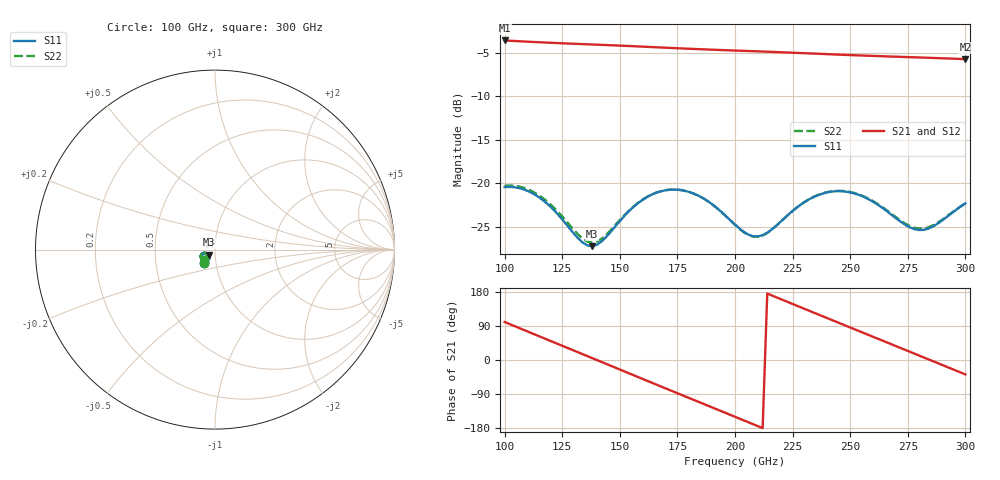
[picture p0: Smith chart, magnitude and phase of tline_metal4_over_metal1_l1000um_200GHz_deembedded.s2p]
! Created with skrf 2.2.0 (http://scikit-rf.org).
# GHz S DB R 50.0
! Port[1] = P1
! Port[2] = P2
!freq dBS11 angS11 dBS21 angS21 dBS12 angS12 dBS22 angS22
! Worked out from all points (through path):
!   101 points, 100 GHz to 300 GHz, reference 50 ohm
!   highest |S21| = -3.59 dB at 100 GHz (marker M1); lowest = -5.7 dB at 300 GHz (marker M2)
!   group delay of S21, straight-line fit = 6.92 ps
!   lowest |S11| = -27.2 dB at 138 GHz (marker M3), VSWR 1.09, Z = 46.7 - j2.6 ohm
!   |S11| at or under -10 dB: start of sweep to end of sweep
!   |S22| runs from -26.8 to -20.3 dB; largest |S21 - S12| = 6.8e-14
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100  -20.44 -130.1  -3.59 100.3  -3.59 100.3  -20.29 -128.9
108  -20.68 -143.3  -3.70 80.2  -3.70 80.2  -20.50 -142.1
116  -21.81 -154.5  -3.80 60.2  -3.80 60.2  -21.58 -153.2
126  -24.47 -160.5  -3.92 35.1  -3.92 35.1  -24.13 -159.4
134  -26.84 -150.8  -4.01 15.1  -4.01 15.1  -26.39 -150.8
138  -27.23 -140.3  -4.05 5.0  -4.05 5.0  -26.82 -141.3
152  -23.75 -121.8  -4.20 -30.1  -4.20 -30.1  -23.66 -123.0
168  -20.91 -136.9  -4.40 -70.2  -4.40 -70.2  -20.89 -137.4
176  -20.76 -147.6  -4.49 -90.1  -4.49 -90.1  -20.76 -147.8
184  -21.41 -157.2  -4.58 -110.0  -4.58 -110.0  -21.41 -157.3
200  -24.74 -162.3  -4.74 -149.8  -4.74 -149.8  -24.78 -162.2
208  -26.09 -150.2  -4.82 -169.7  -4.82 -169.7  -26.14 -149.7
216  -25.30 -135.8  -4.90 170.3  -4.90 170.3  -25.32 -135.0
224  -23.41 -131.4  -4.98 150.4  -4.98 150.4  -23.40 -130.5
234  -21.60 -137.0  -5.09 125.5  -5.09 125.5  -21.57 -136.2
242  -20.96 -145.2  -5.18 105.6  -5.18 105.6  -20.92 -144.3
250  -21.05 -153.9  -5.27 85.8  -5.27 85.8  -21.00 -152.9
258  -21.84 -161.0  -5.34 66.0  -5.34 66.0  -21.77 -160.0
268  -23.64 -163.7  -5.44 41.3  -5.44 41.3  -23.53 -162.8
278  -25.28 -153.9  -5.52 16.5  -5.52 16.5  -25.12 -153.4
284  -25.20 -144.1  -5.58 1.7  -5.58 1.7  -25.05 -144.0
300  -22.31 -136.0  -5.73 -38.0  -5.73 -38.0  -22.30 -136.3
